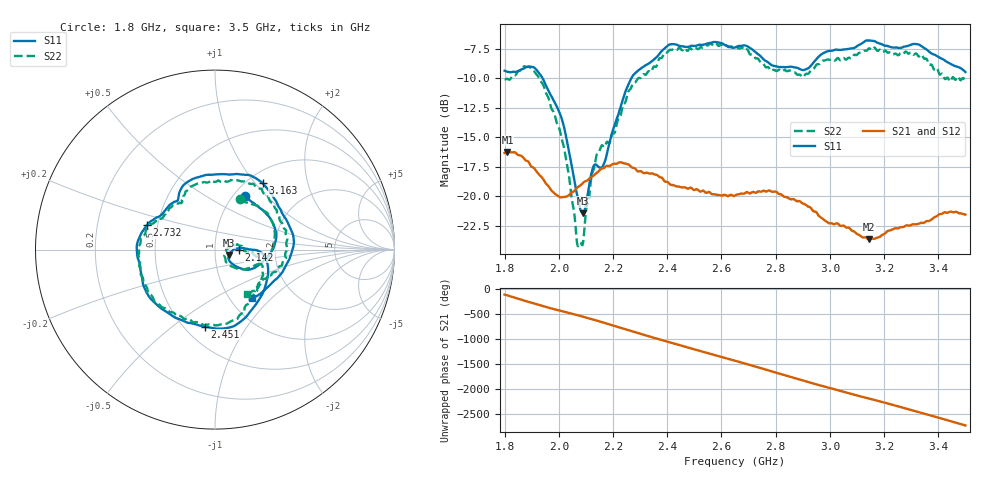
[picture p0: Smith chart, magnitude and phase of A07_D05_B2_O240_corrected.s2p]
! Created with skrf 1.9.0 (http://scikit-rf.org).
# Hz S RI R 50.0
!freq ReS11 ImS11 ReS21 ImS21 ReS12 ImS12 ReS22 ImS22
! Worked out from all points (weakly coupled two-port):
!   1601 points, 1.8 GHz to 3.5 GHz, reference 50 ohm
!   highest |S21| = -16.24 dB at 1.811 GHz (marker M1); lowest = -23.6 dB at 3.144 GHz (marker M2)
!   lowest |S11| = -21.5 dB at 2.089 GHz (marker M3), VSWR 1.18, Z = 58.5 - j3.52 ohm
!   |S11| at or under -10 dB: 1.94 GHz to 2.267 GHz (327 MHz wide, 15.5 % of centre)
!   |S22| runs from -24.2 to -7.0 dB; largest |S21 - S12| = 0.0028
!   S11 on the Smith chart (normalised r, x): 1.8 GHz: 1.13, +0.76; 2.142 GHz: 1.31, +0.00; 2.451 GHz: 0.63, -0.66; 2.732 GHz: 0.44, +0.14; 3.163 GHz: 1.17, +1.10; 3.5 GHz: 1.26, -0.76
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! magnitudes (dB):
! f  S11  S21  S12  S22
! 1.8 GHz  -9.4  -16.3  -16.3  -10.1
! 1.811 GHz  -9.4  -16.2  -16.2  -10.0
! 1.883 GHz  -9.0  -17.0  -17.0  -9.0
! 1.942 GHz  -10.1  -18.6  -18.6  -10.6
! 2.013 GHz  -13.6  -20.1  -20.1  -15.3
! 2.068 GHz  -19.9  -19.3  -19.3  -24.0
! 2.084 GHz  -21.3  -19.0  -19.0  -24.1
! 2.089 GHz  -21.5  -18.9  -18.9  -24.0
! 2.124 GHz  -17.7  -18.3  -18.3  -18.0
! 2.142 GHz  -17.4  -18.0  -18.0  -16.4
! 2.168 GHz  -17.2  -17.6  -17.6  -15.8
! 2.266 GHz  -10.0  -17.5  -17.5  -10.8
! 2.367 GHz  -8.0  -18.3  -18.3  -8.5
! 2.451 GHz  -7.3  -19.2  -19.2  -7.6
! 2.65 GHz  -7.4  -19.9  -19.9  -7.5
! 2.732 GHz  -7.9  -19.6  -19.7  -8.3
! 2.934 GHz  -8.8  -21.1  -21.1  -9.2
! 3.144 GHz  -6.8  -23.6  -23.6  -7.4
! 3.163 GHz  -6.8  -23.6  -23.6  -7.4
! 3.217 GHz  -7.3  -22.9  -22.9  -7.8
! 3.326 GHz  -7.1  -22.3  -22.3  -8.1
! 3.5 GHz  -9.5  -21.6  -21.5  -10.3
